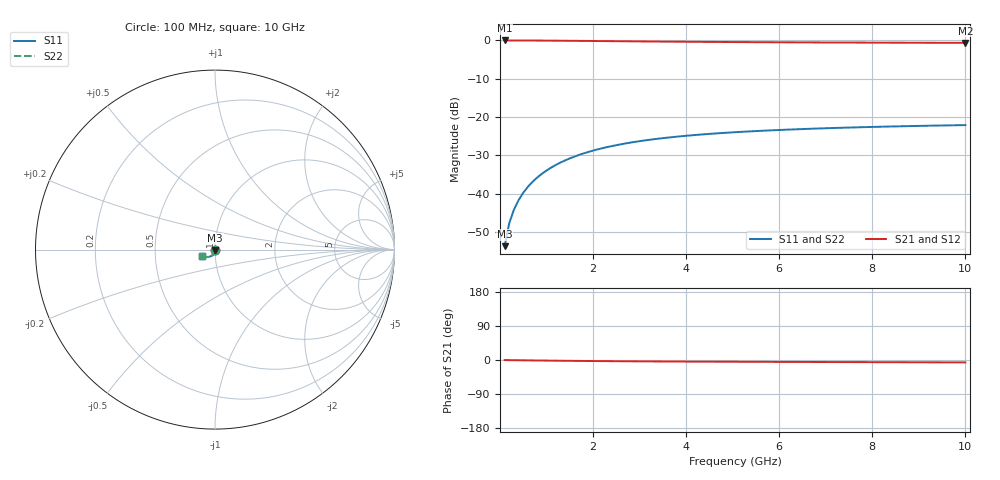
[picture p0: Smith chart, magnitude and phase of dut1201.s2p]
! Touchstone file exported from HFSS 2024.1.0
!  File:  C:/UserFiles/LocalFiles/RDL_TSV_Batchsim/temp_TSV1_1201_1780247521.aedt
!  Generated:  01:17:09 AM Jun  1, 2026
!  Design:  TSV1
!  Project:  temp_TSV1_1201_1780247521
!  Setup:  Setup1
!  Solution:  Sweep
! Variables:
!  dtsv = 13.02um
!  hbump = 3um
!  htsv = 98.16um
!  lrdl = 252.1521522um
!  p = 40
!  p1 = 42.33um
!  t = 500um
!  trdl = 3um
!  wrdl = 24.89489489um
# GHz S MA R 50.000000
! Terminal data exported
! Port[1] = TSV22_T1
! Port[2] = TSV22_T2
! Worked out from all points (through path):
!   100 points, 100 MHz to 10 GHz, reference 50 ohm
!   highest |S21| = 0.00 dB at 100 MHz (marker M1); lowest = -0.6 dB at 10 GHz (marker M2)
!   lowest |S11| = -53.7 dB at 100 MHz (marker M3), VSWR 1.00, Z = 50 - j0.206 ohm
!   |S11| at or under -10 dB: start of sweep to end of sweep
!   |S22| runs from -53.7 to -22.1 dB; largest |S21 - S12| = 4.4e-15
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0.1  0.002058 -88.5  0.9998 -0.2  0.9998 -0.2  0.002058 -88.5
! Gamma 0 0 0 0
! Port Impedance 50 0 50 0
0.2  0.004114 -91.3  0.9997 -0.3  0.9997 -0.3  0.004114 -91.3
0.3  0.006171 -93.2  0.9994 -0.5  0.9994 -0.5  0.006171 -93.2
0.4  0.00822 -94.9  0.999 -0.6  0.999 -0.6  0.00822 -94.9
0.5  0.01025 -96.5  0.9985 -0.8  0.9985 -0.8  0.01025 -96.5
0.6  0.01227 -98.1  0.9979 -1.0  0.9979 -1.0  0.01227 -98.1
0.7  0.01425 -99.6  0.9973 -1.1  0.9973 -1.1  0.01425 -99.6
0.8  0.01621 -101.1  0.9965 -1.3  0.9965 -1.3  0.01621 -101.1
0.9  0.01813 -102.6  0.9957 -1.4  0.9957 -1.4  0.01813 -102.6
1.1  0.02186 -105.5  0.9939 -1.7  0.9939 -1.7  0.02186 -105.5
1.4  0.02713 -109.5  0.9908 -2.1  0.9908 -2.1  0.02713 -109.5
1.6  0.03042 -112.0  0.9885 -2.3  0.9885 -2.3  0.03042 -112.0
1.8  0.03352 -114.5  0.9862 -2.5  0.9862 -2.5  0.03352 -114.5
2.1  0.03781 -117.8  0.9825 -2.8  0.9825 -2.8  0.03781 -117.8
2.5  0.04291 -121.9  0.9776 -3.2  0.9776 -3.2  0.04291 -121.9
2.9  0.04735 -125.6  0.9729 -3.5  0.9729 -3.5  0.04735 -125.6
3.4  0.05212 -129.6  0.9674 -3.8  0.9674 -3.8  0.05212 -129.6
4.2  0.05826 -134.9  0.9597 -4.2  0.9597 -4.2  0.05827 -134.9
5.1  0.06359 -139.7  0.9525 -4.6  0.9525 -4.6  0.06359 -139.7
6.7  0.07035 -146.1  0.9428 -5.2  0.9428 -5.2  0.07035 -146.1
8.4  0.07521 -151.0  0.9354 -5.8  0.9354 -5.8  0.07521 -151.0
10  0.07845 -154.5  0.9304 -6.4  0.9304 -6.4  0.07845 -154.5
